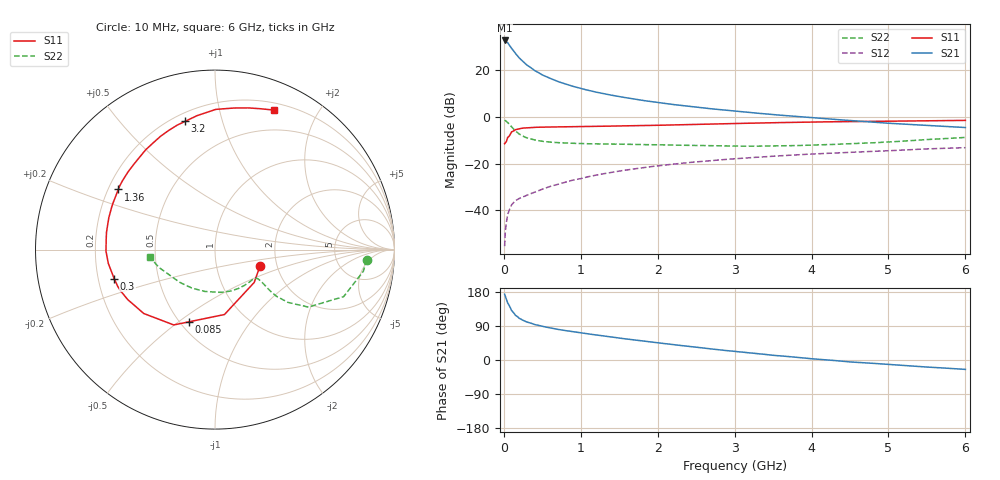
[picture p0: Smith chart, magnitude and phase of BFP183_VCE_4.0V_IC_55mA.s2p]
! Infineon Technologies  Discrete & RF Semiconductors
! BFP183
! VCE = 4.0 V,  IC =  55 mA
! Common Emitter S-Parameters:  Jan 2016
# GHz  S  MA  R  50
!  f  S11  S21  S12  S22
! GHz  MAG  ANG  MAG  ANG  MAG  ANG  MAG  ANG
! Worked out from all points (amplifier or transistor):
!   210 points, 10 MHz to 6 GHz, reference 50 ohm
!   highest |S21| = 32.8 dB at 10 MHz (marker M1)
!   |S21| within 3 dB of that: start of sweep to 92.4 MHz
!   unconditionally stable (mu >= 1): start of sweep to 18.06 MHz; 312.6 MHz to end of sweep
!   at 185 MHz: K = 0.74, MSG = 30.6 dB, |S12| = -35.2 dB
!   at 1.52 GHz: K = 1.39, MAG = 12.1 dB, |S12| = -23.1 dB
!   at 6 GHz: K = 1.07, MAG = 2.7 dB, |S12| = -13.2 dB
!   S11 on the Smith chart (normalised r, x): 10 MHz: 1.63, -0.33; 85 MHz: 0.55, -0.55; 300 MHz: 0.27, -0.13; 1.36 GHz: 0.24, +0.27; 3.2 GHz: 0.25, +0.76; 6 GHz: 0.27, +1.47
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0.01  0.2669 -20.4  43.59 173.6  0.0017 72.9  0.8469 -3.8
0.02  0.285 -39.9  43.19 167.7  0.0036 72.5  0.8354 -8.3
0.05  0.3655 -81.7  38.92 150.5  0.0081 70.2  0.763 -20.1
0.085  0.4276 -109.8  32.05 137.8  0.0115 57.4  0.6537 -27.6
0.1  0.4785 -118.7  29.74 130.7  0.013 54.0  0.6111 -31.6
0.15  0.5332 -138.1  23.05 118.2  0.016 51.0  0.5015 -35.9
0.2  0.5604 -150.2  18.42 110.1  0.0179 49.1  0.4302 -37.2
0.24  0.5741 -156.4  15.85 105.7  0.0191 51.2  0.394 -37.0
0.3  0.5844 -163.9  12.93 100.2  0.0211 53.2  0.3555 -36.0
0.4  0.5994 -172.6  9.901 93.6  0.0243 55.3  0.3198 -34.8
0.5  0.6075 -179.2  7.958 88.7  0.0283 56.2  0.3002 -34.2
0.6  0.6084 175.6  6.731 84.6  0.0323 58.8  0.2888 -34.2
0.7  0.6122 170.9  5.749 80.9  0.036 59.9  0.2812 -34.6
0.8  0.6138 167.1  5.073 77.6  0.0399 60.8  0.2766 -35.4
1.02  0.621 158.9  3.994 71.0  0.0487 61.2  0.2684 -38.3
1.36  0.6348 148.1  3.009 61.8  0.0633 60.2  0.2626 -44.3
2.02  0.6637 129.6  2.013 45.0  0.0902 55.4  0.2529 -59.0
3.1  0.7288 105.0  1.289 20.8  0.1303 45.1  0.2367 -90.5
3.2  0.7337 103.1  1.245 18.9  0.1338 44.1  0.2363 -93.8
4.1  0.7831 88.2  0.94 1.8  0.1631 35.4  0.252 -124.2
5.1  0.8134 75.8  0.717 -13.0  0.1919 26.9  0.2966 -153.3
6  0.8437 67.1  0.593 -24.8  0.2198 17.8  0.3642 -173.2
